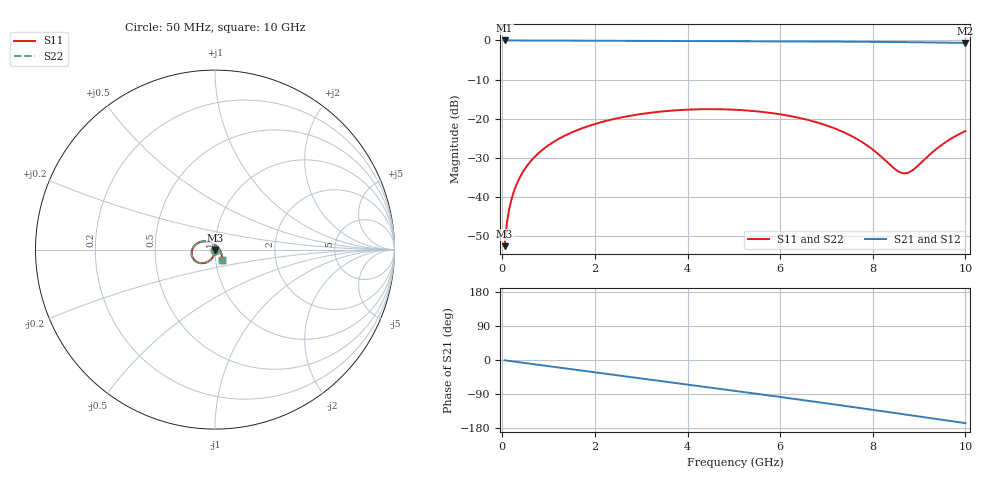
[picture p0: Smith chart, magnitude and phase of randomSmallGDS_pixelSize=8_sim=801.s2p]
! freq	dB(S11)	phase(S11)	dB(S12)	phase(S12)
!  dB(S21)	phase(S21)	dB(S22)	phase(S22)
!S-par simulation data
#  GHz  S  DB  R 50
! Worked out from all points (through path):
!   200 points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, 50 MHz to 10 GHz, reference 50 ohm
!   highest |S21| = 0.00 dB at 50 MHz (marker M1); lowest = -0.6 dB at 10 GHz (marker M2)
!   group delay of S21, straight-line fit = 46 ps
!   lowest |S11| = -52.5 dB at 50 MHz (marker M3), VSWR 1.00, Z = 50 - j0.237 ohm
!   |S11| at or under -10 dB: start of sweep to end of sweep
!   |S22| runs from -52.5 to -17.5 dB; largest |S21 - S12| = 0
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0.05  -52.51 -90.4  -0.00 -0.8  -0.00 -0.8  -52.51 -90.4
0.1  -46.49 -91.5  -0.00 -1.6  -0.00 -1.6  -46.49 -91.5
0.15  -42.97 -92.5  -0.00 -2.5  -0.00 -2.5  -42.97 -92.5
0.2  -40.47 -93.4  -0.00 -3.3  -0.00 -3.3  -40.47 -93.4
0.35  -35.63 -96.0  -0.00 -5.7  -0.00 -5.7  -35.63 -96.0
0.5  -32.57 -98.6  -0.01 -8.2  -0.01 -8.2  -32.57 -98.6
0.7  -29.70 -102.1  -0.02 -11.4  -0.02 -11.4  -29.70 -102.1
1  -26.72 -107.2  -0.03 -16.3  -0.03 -16.3  -26.72 -107.2
1.75  -22.30 -119.7  -0.06 -28.4  -0.06 -28.4  -22.30 -119.6
2.5  -19.82 -132.0  -0.09 -40.5  -0.09 -40.5  -19.82 -131.9
3.4  -18.18 -146.8  -0.13 -55.1  -0.13 -55.1  -18.18 -146.8
4.25  -17.56 -161.1  -0.17 -68.8  -0.17 -68.8  -17.56 -161.1
5.05  -17.70 -175.0  -0.20 -81.9  -0.20 -81.9  -17.70 -174.9
5.9  -18.67 169.5  -0.23 -95.9  -0.23 -95.9  -18.67 169.6
6.7  -20.60 153.3  -0.26 -109.3  -0.26 -109.3  -20.60 153.5
7.6  -24.76 130.0  -0.32 -124.6  -0.32 -124.6  -24.77 130.3
8  -27.86 113.6  -0.35 -131.5  -0.35 -131.5  -27.88 114.0
8.35  -31.48 88.3  -0.39 -137.6  -0.39 -137.6  -31.56 88.8
8.6  -33.71 55.6  -0.42 -141.9  -0.42 -141.9  -33.85 56.0
8.75  -33.81 30.9  -0.43 -144.6  -0.43 -144.6  -33.97 30.9
9.5  -26.57 -37.4  -0.54 -157.8  -0.54 -157.8  -26.61 -37.8
10  -23.12 -54.6  -0.63 -166.6  -0.63 -166.6  -23.15 -55.0
